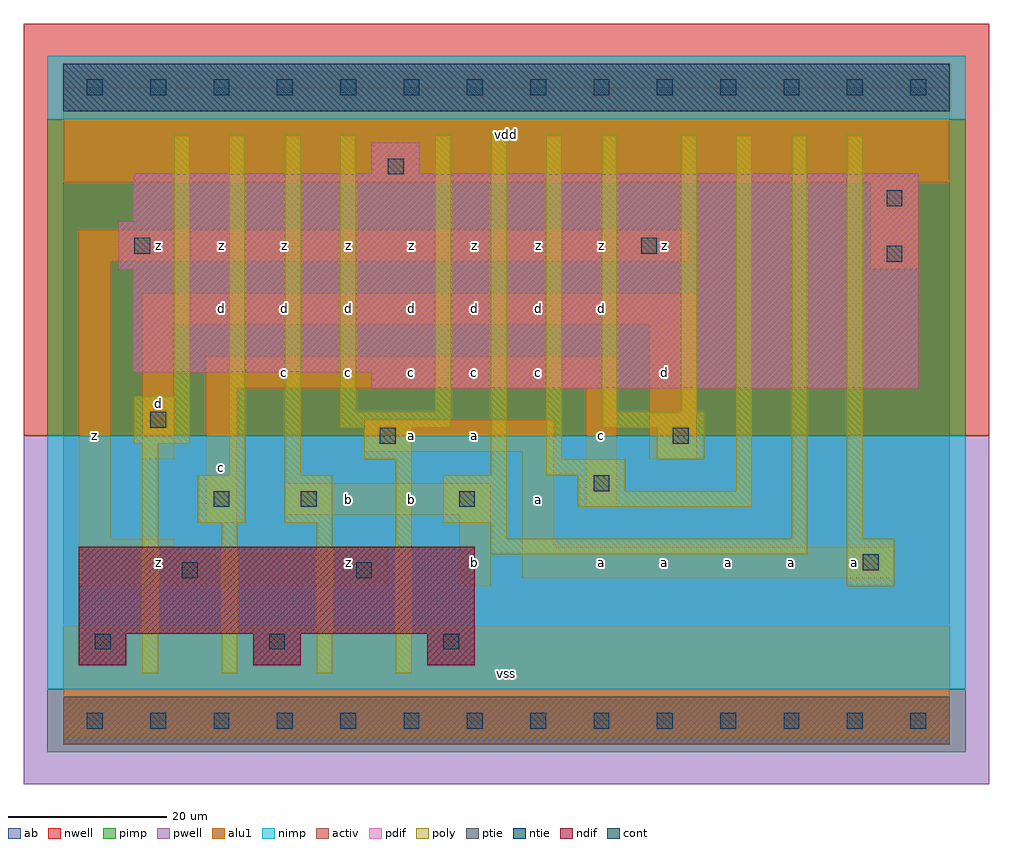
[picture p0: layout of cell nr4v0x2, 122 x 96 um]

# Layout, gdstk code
import gdstk
lib = gdstk.Library(unit=1e-6, precision=1e-09)
def R(c, l, rs):  # rectangles x0, y0, x1, y1
    for r in rs: c.add(gdstk.rectangle(r[:2], r[2:], *l))
def A(c, l, x, y, w, h, nx, ny, dx, dy):  # array of equal rectangles
    R(c, l, [(x+i*dx, y+j*dy, x+i*dx+w, y+j*dy+h) for i in range(nx) for j in range(ny)])
ndif = (3, 0)
pdif = (4, 0)
ntie = (5, 0)
ptie = (6, 0)
cont = (25, 0)
pwell = (41, 0)
nwell = (42, 0)
activ = (43, 0)
pimp = (44, 0)
nimp = (45, 0)
poly = (46, 0)
alu1 = (49, 0)
ab = (63, 0)

nr4v0x2 = lib.new_cell('nr4v0x2')
A(nr4v0x2, ndif, 2, 7, 6, 4, 3, 1, 22, 0)
R(nr4v0x2, ndif, [(2,11,52,22)])
R(nr4v0x2, pdif, [(39,42,108,44), (9,44,108,57), (7,57,108,63), (9,63,108,69), (39,69,45,73)])
R(nr4v0x2, ntie, [(0,77,112,83)])
R(nr4v0x2, ptie, [(0,-3,112,3)])
A(nr4v0x2, cont, 3, -1, 2, 2, 14, 2, 8, 80)
A(nr4v0x2, cont, 4, 9, 2, 2, 3, 1, 22, 0)
R(nr4v0x2, cont, [(15,18,17,20), (37,18,39,20), (101,19,103,21), (19,27,21,29), (30,27,32,29), (50,27,52,29), (67,29,69,31), (40,35,42,37), (77,35,79,37), (11,37,13,39), (104,58,106,60), (9,59,11,61), (73,59,75,61), (104,65,106,67), (41,69,43,71)])
R(nr4v0x2, pwell, [(-5,-8,117,36)])
R(nr4v0x2, nwell, [(-5,36,117,88)])
A(nr4v0x2, activ, 2, 7, 6, 4, 3, 1, 22, 0)
R(nr4v0x2, activ, [(0,-3,112,3), (2,11,52,22), (39,42,108,44), (9,44,108,57), (7,57,108,63), (9,63,108,69), (39,69,45,73), (0,77,112,83)])
R(nr4v0x2, pimp, [(-2,-4,114,4), (-2,36,114,76)])
R(nr4v0x2, nimp, [(-2,4,114,36), (-2,76,114,84)])
R(nr4v0x2, poly, [(10,6,12,35), (20,6,22,25), (32,6,34,25), (42,6,44,33), (99,17,105,23), (54,21,94,23), (54,23,56,25), (92,23,94,74), (99,23,101,74), (17,25,23,31), (28,25,34,31), (48,25,56,31), (65,27,87,29), (65,29,71,31), (85,29,87,74), (21,31,23,74), (28,31,30,74), (54,31,56,74), (61,31,71,33), (38,33,44,37), (61,33,63,74), (75,33,81,37), (9,35,16,41), (35,37,49,39), (68,37,81,39), (35,39,37,74), (47,39,49,74), (68,39,70,74), (78,39,80,74), (14,41,16,74)])
R(nr4v0x2, alu1, [(0,-2,112,12), (2,17,41,21), (50,17,54,26), (58,18,105,22), (2,21,14,23), (33,21,41,22), (58,22,62,34), (2,23,6,58), (18,25,22,42), (28,26,54,30), (66,27,70,42), (10,33,14,50), (74,33,80,50), (38,34,62,38), (18,42,70,46), (10,50,80,54), (102,57,108,68), (2,58,79,62), (0,68,112,82)])
R(nr4v0x2, ab, [(0,0,112,80)])
nr4v0x2.add(gdstk.Label('z', (12,20), layer=49, texttype=0))
nr4v0x2.add(gdstk.Label('z', (4,36), layer=49, texttype=0))
nr4v0x2.add(gdstk.Label('d', (12,40), layer=49, texttype=0))
nr4v0x2.add(gdstk.Label('z', (12,60), layer=49, texttype=0))
nr4v0x2.add(gdstk.Label('z', (36,20), layer=49, texttype=0))
nr4v0x2.add(gdstk.Label('b', (36,28), layer=49, texttype=0))
nr4v0x2.add(gdstk.Label('c', (20,32), layer=49, texttype=0))
nr4v0x2.add(gdstk.Label('c', (28,44), layer=49, texttype=0))
nr4v0x2.add(gdstk.Label('c', (36,44), layer=49, texttype=0))
nr4v0x2.add(gdstk.Label('d', (28,52), layer=49, texttype=0))
nr4v0x2.add(gdstk.Label('d', (36,52), layer=49, texttype=0))
nr4v0x2.add(gdstk.Label('d', (20,52), layer=49, texttype=0))
nr4v0x2.add(gdstk.Label('z', (20,60), layer=49, texttype=0))
nr4v0x2.add(gdstk.Label('z', (28,60), layer=49, texttype=0))
nr4v0x2.add(gdstk.Label('z', (36,60), layer=49, texttype=0))
nr4v0x2.add(gdstk.Label('vss', (56,6), layer=49, texttype=0))
nr4v0x2.add(gdstk.Label('b', (44,28), layer=49, texttype=0))
nr4v0x2.add(gdstk.Label('b', (52,20), layer=49, texttype=0))
nr4v0x2.add(gdstk.Label('a', (60,28), layer=49, texttype=0))
nr4v0x2.add(gdstk.Label('a', (44,36), layer=49, texttype=0))
nr4v0x2.add(gdstk.Label('c', (44,44), layer=49, texttype=0))
nr4v0x2.add(gdstk.Label('a', (52,36), layer=49, texttype=0))
nr4v0x2.add(gdstk.Label('c', (52,44), layer=49, texttype=0))
nr4v0x2.add(gdstk.Label('c', (60,44), layer=49, texttype=0))
nr4v0x2.add(gdstk.Label('d', (52,52), layer=49, texttype=0))
nr4v0x2.add(gdstk.Label('d', (60,52), layer=49, texttype=0))
nr4v0x2.add(gdstk.Label('d', (44,52), layer=49, texttype=0))
nr4v0x2.add(gdstk.Label('z', (44,60), layer=49, texttype=0))
nr4v0x2.add(gdstk.Label('z', (52,60), layer=49, texttype=0))
nr4v0x2.add(gdstk.Label('z', (60,60), layer=49, texttype=0))
nr4v0x2.add(gdstk.Label('vdd', (56,74), layer=49, texttype=0))
nr4v0x2.add(gdstk.Label('a', (68,20), layer=49, texttype=0))
nr4v0x2.add(gdstk.Label('a', (76,20), layer=49, texttype=0))
nr4v0x2.add(gdstk.Label('a', (84,20), layer=49, texttype=0))
nr4v0x2.add(gdstk.Label('c', (68,36), layer=49, texttype=0))
nr4v0x2.add(gdstk.Label('d', (76,44), layer=49, texttype=0))
nr4v0x2.add(gdstk.Label('d', (68,52), layer=49, texttype=0))
nr4v0x2.add(gdstk.Label('z', (68,60), layer=49, texttype=0))
nr4v0x2.add(gdstk.Label('z', (76,60), layer=49, texttype=0))
nr4v0x2.add(gdstk.Label('a', (92,20), layer=49, texttype=0))
nr4v0x2.add(gdstk.Label('a', (100,20), layer=49, texttype=0))

lib.write_gds('nr4v0x2.gds')
